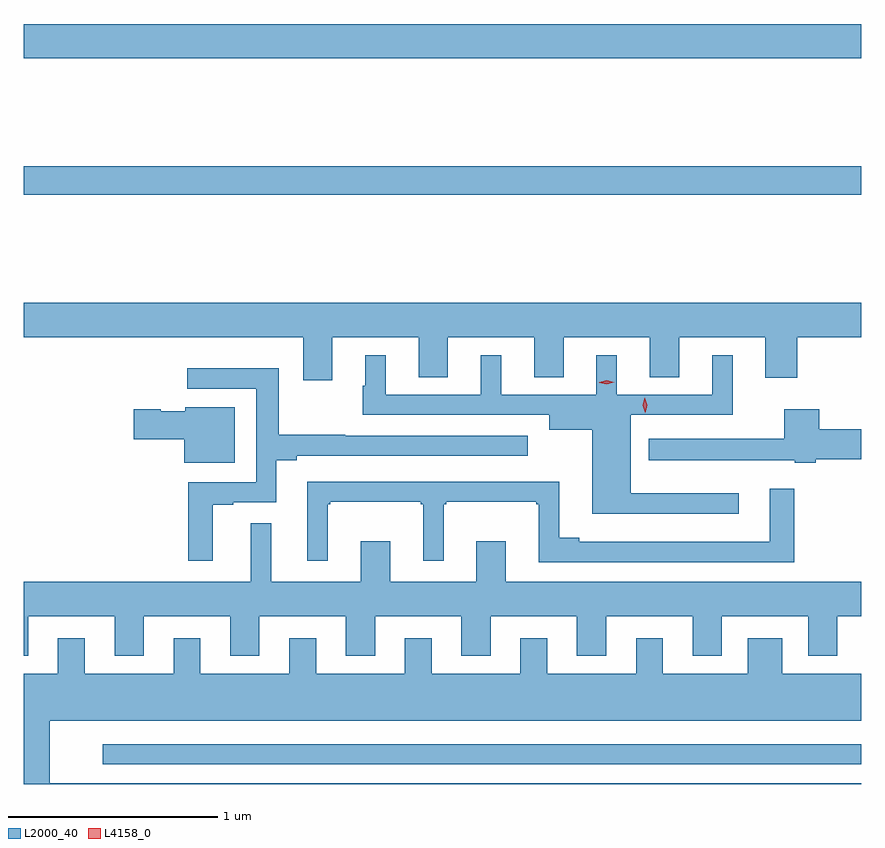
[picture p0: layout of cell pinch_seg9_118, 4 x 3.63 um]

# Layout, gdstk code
import gdstk
lib = gdstk.Library(unit=1e-6, precision=1e-09)
def R(c, l, rs):  # rectangles x0, y0, x1, y1
    for r in rs: c.add(gdstk.rectangle(r[:2], r[2:], *l))
def P(c, l, *ps):  # polygons
    for p in ps: c.add(gdstk.Polygon(p, *l))
L2000_40 = (2000, 40)
L4158_0 = (4158, 0)

pinch_seg9_118 = lib.new_cell('pinch_seg9_118')
R(pinch_seg9_118, L2000_40, [(825.639,1233.009,829.261,1233.105), (825.261,1235.728,829.261,1235.864), (825.261,1236.38,829.261,1236.544)])
P(pinch_seg9_118, L2000_40, [(826.735,1235.048),(827.147,1235.048),(827.147,1234.858),(827.287,1234.858),(827.287,1235.048),(827.699,1235.048),(827.699,1234.858),(827.839,1234.858),(827.839,1235.048),(828.251,1235.048),(828.251,1234.858),(828.391,1234.858),(828.391,1235.048),(828.803,1235.048),(828.803,1234.854),(828.956,1234.854),(828.956,1235.048),(829.261,1235.048),(829.261,1235.212),(825.261,1235.212),(825.261,1235.048),(826.595,1235.048),(826.595,1234.842),(826.735,1234.842)],
  [(828.676,1234.303),(828.16,1234.303),(828.16,1234.677),(828.648,1234.677),(828.648,1234.817),(828.646,1234.817),(828.646,1234.963),(828.548,1234.963),(828.548,1234.773),(828.094,1234.773),(828.094,1234.963),(827.996,1234.963),(827.996,1234.773),(827.542,1234.773),(827.542,1234.963),(827.444,1234.963),(827.444,1234.773),(826.99,1234.773),(826.99,1234.963),(826.892,1234.963),(826.892,1234.817),(826.881,1234.817),(826.881,1234.677),(827.771,1234.677),(827.771,1234.607),(827.975,1234.607),(827.975,1234.205),(828.676,1234.205)],
  [(826.165,1234.248),(826.261,1234.248),(826.261,1234.26),(826.468,1234.26),(826.468,1234.462),(826.564,1234.462),(826.564,1234.482),(827.668,1234.482),(827.668,1234.578),(826.796,1234.578),(826.796,1234.583),(826.48,1234.583),(826.48,1234.9),(826.041,1234.9),(826.041,1234.803),(826.371,1234.803),(826.371,1234.356),(826.047,1234.356),(826.047,1233.981),(826.165,1233.981)],
  [(826.27,1234.714),(826.032,1234.714),(826.032,1234.696),(825.915,1234.696),(825.915,1234.704),(825.786,1234.704),(825.786,1234.562),(826.028,1234.562),(826.028,1234.448),(826.27,1234.448)],
  [(829.044,1234.466),(829.261,1234.466),(829.261,1234.608),(829.061,1234.608),(829.061,1234.705),(828.893,1234.705),(828.893,1234.564),(828.245,1234.564),(828.245,1234.46),(828.944,1234.46),(828.944,1234.448),(829.044,1234.448)],
  [(828.941,1234.324),(828.824,1234.324),(828.824,1234.072),(827.914,1234.072),(827.914,1234.091),(827.818,1234.091),(827.818,1234.359),(826.616,1234.359),(826.616,1233.981),(826.714,1233.981),(826.714,1234.251),(826.726,1234.251),(826.726,1234.262),(827.157,1234.262),(827.157,1234.251),(827.168,1234.251),(827.168,1233.981),(827.266,1233.981),(827.266,1234.251),(827.278,1234.251),(827.278,1234.262),(827.709,1234.262),(827.709,1234.251),(827.72,1234.251),(827.72,1233.975),(828.941,1233.975)],
  [(827.351,1233.527),(827.491,1233.527),(827.491,1233.716),(827.903,1233.716),(827.903,1233.527),(828.043,1233.527),(828.043,1233.716),(828.455,1233.716),(828.455,1233.527),(828.595,1233.527),(828.595,1233.716),(829.007,1233.716),(829.007,1233.527),(829.147,1233.527),(829.147,1233.716),(829.261,1233.716),(829.261,1233.88),(827.563,1233.88),(827.563,1234.075),(827.423,1234.075),(827.423,1233.88),(827.011,1233.88),(827.011,1234.075),(826.871,1234.075),(826.871,1233.88),(826.444,1233.88),(826.444,1234.159),(826.346,1234.159),(826.346,1233.88),(825.261,1233.88),(825.261,1233.527),(825.283,1233.527),(825.283,1233.716),(825.695,1233.716),(825.695,1233.527),(825.835,1233.527),(825.835,1233.716),(826.247,1233.716),(826.247,1233.527),(826.387,1233.527),(826.387,1233.716),(826.799,1233.716),(826.799,1233.527),(826.939,1233.527),(826.939,1233.716),(827.351,1233.716)],
  [(829.261,1232.919),(825.385,1232.919),(825.385,1233.218),(829.261,1233.218),(829.261,1233.442),(828.883,1233.442),(828.883,1233.61),(828.719,1233.61),(828.719,1233.442),(828.313,1233.442),(828.313,1233.61),(828.185,1233.61),(828.185,1233.442),(827.761,1233.442),(827.761,1233.61),(827.633,1233.61),(827.633,1233.442),(827.209,1233.442),(827.209,1233.61),(827.081,1233.61),(827.081,1233.442),(826.657,1233.442),(826.657,1233.61),(826.529,1233.61),(826.529,1233.442),(826.105,1233.442),(826.105,1233.61),(825.977,1233.61),(825.977,1233.442),(825.553,1233.442),(825.553,1233.61),(825.425,1233.61),(825.425,1233.442),(825.261,1233.442),(825.261,1232.915),(829.261,1232.915)])
P(pinch_seg9_118, L4158_0, [(828.229,1234.688),(828.229,1234.688),(828.218,1234.723),(828.226,1234.759),(828.226,1234.759),(828.227,1234.759),(828.238,1234.724),(828.229,1234.688)],
  [(828.045,1234.823),(828.01,1234.832),(828.01,1234.832),(828.01,1234.833),(828.045,1234.843),(828.08,1234.834),(828.08,1234.834),(828.08,1234.834)])

lib.write_gds('pinch_seg9_118.gds')
